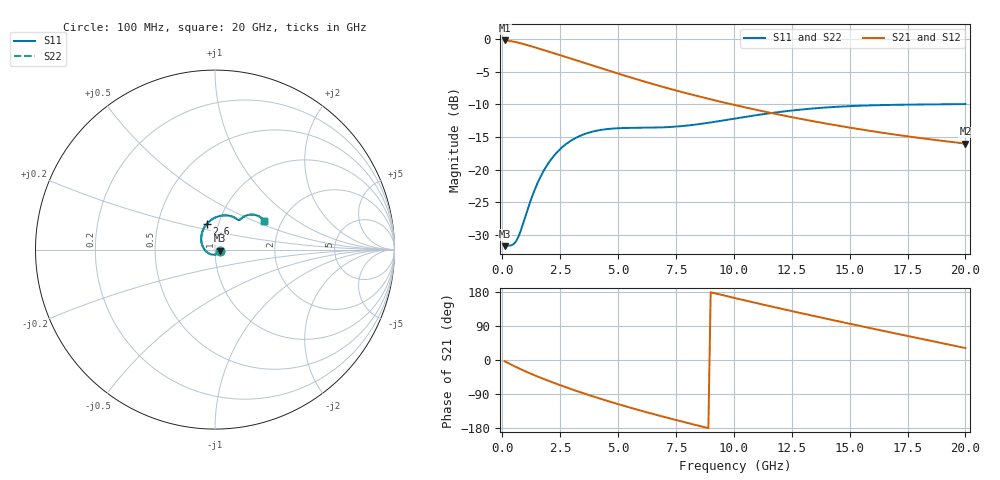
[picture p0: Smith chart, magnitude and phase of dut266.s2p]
! Touchstone file exported from HFSS 2023.1.0
!  File:  D:/Users/fzz/RDL_TSV/temp_RDL_TSV_266_1778761401.aedt
!  Generated:  8:35:16 %x4E0B%x5348  5%x6708 14, 2026
!  Design:  RDL_TSV
!  Project:  temp_RDL_TSV_266_1778761401
!  Setup:  Setup1
!  Solution:  Sweep
! Variables:
!  dtsv = 18.23um
!  hbump = 3um
!  htsv = 98.24um
!  ldown = 584.27um
!  lrdl = 663.83um
!  p = 40
!  p1 = 57.56um
!  rhole = 10um
!  subl = 4408.13um
!  t = 450um
!  tdown = 2.17um
!  trdl = 3.59um
!  viad = 10um
!  wdown = 17.16um
!  wrdl = 26.64um
!  xbump = 18um
# GHz S MA R 50.000000
! Terminal data exported
! Port[1] = TM1_1_T1
! Port[2] = TM1_4_T1
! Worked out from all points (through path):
!   200 points, 100 MHz to 20 GHz, reference 50 ohm
!   highest |S21| = -0.24 dB at 100 MHz (marker M1); lowest = -16.0 dB at 20 GHz (marker M2)
!   group delay of S21, straight-line fit = 42.9 ps
!   lowest |S11| = -31.7 dB at 100 MHz (marker M3), VSWR 1.05, Z = 52.6 - j0.628 ohm
!   |S11| at or under -10 dB: start of sweep to 18.93 GHz
!   |S22| runs from -31.7 to -9.9 dB; largest |S21 - S12| = 1e-14
!   S11 on the Smith chart (normalised r, x): 100 MHz: 1.05, -0.01; 2.6 GHz: 0.88, +0.25; 20 GHz: 1.63, +0.58
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0.1  0.02605 -13.2  0.9728 -3.2  0.9728 -3.2  0.02605 -13.2
! Gamma 0 0 0 0
! Port Impedance 50 0 50 0
0.4  0.0265 -60.1  0.9586 -12.6  0.9586 -12.6  0.02648 -60.1
0.6  0.02849 -96.0  0.9436 -18.7  0.9436 -18.7  0.02846 -96.0
0.8  0.03432 -129.7  0.9254 -24.4  0.9254 -24.4  0.0343 -129.8
1.3  0.06327 173.5  0.8733 -37.9  0.8733 -37.9  0.06331 173.4
1.6  0.08468 152.3  0.8413 -45.5  0.8413 -45.5  0.08475 152.3
1.9  0.106 136.0  0.81 -52.7  0.81 -52.7  0.1061 135.9
2.2  0.1259 122.7  0.7798 -59.7  0.7798 -59.7  0.1261 122.7
2.6  0.1493 108.3  0.741 -68.6  0.741 -68.6  0.1494 108.2
3.5  0.1859 84.4  0.6598 -87.7  0.6598 -87.7  0.1861 84.4
4.3  0.2021 70.2  0.5944 -103.5  0.5944 -103.5  0.2023 70.2
5.1  0.2079 60.6  0.5363 -118.3  0.5363 -118.3  0.2083 60.6
5.9  0.2091 54.8  0.4855 -132.2  0.4855 -132.2  0.2095 54.9
6.8  0.2103 51.6  0.4365 -147.2  0.4365 -147.2  0.2107 51.6
8.3  0.2208 50.1  0.3705 -170.7  0.3705 -170.7  0.2213 50.1
10.1  0.247 48.5  0.3105 162.7  0.3105 162.7  0.2474 48.5
11.7  0.2725 45.4  0.2695 140.1  0.2695 140.1  0.273 45.4
13.4  0.2937 41.1  0.2353 116.9  0.2353 116.9  0.2944 41.2
14.9  0.3056 37.5  0.2113 97.0  0.2113 97.0  0.3065 37.5
16.7  0.3128 33.9  0.1884 73.7  0.1884 73.7  0.3138 33.9
18.4  0.3156 31.6  0.1714 51.9  0.1714 51.9  0.3166 31.5
20  0.3176 30.2  0.1584 31.6  0.1584 31.6  0.3187 30.2
